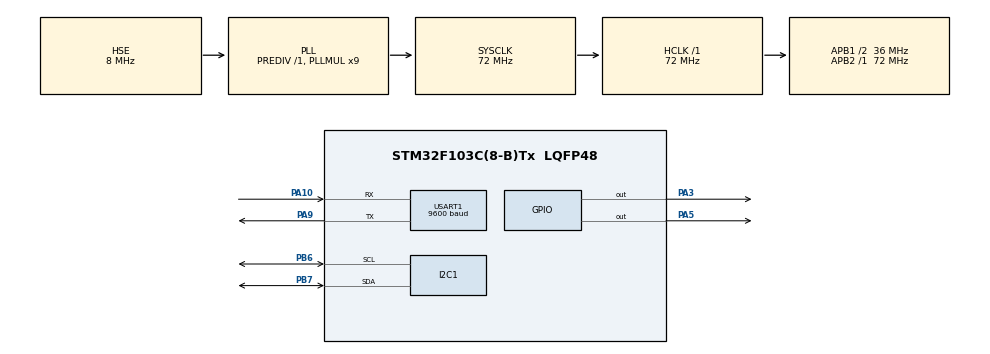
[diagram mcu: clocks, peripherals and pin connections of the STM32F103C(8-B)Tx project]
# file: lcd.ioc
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I2C1.OwnAddress=0x20
Mcu.Family=STM32F1
Mcu.Name=STM32F103C(8-B)Tx
Mcu.Package=LQFP48
NVIC.PriorityGroup=NVIC_PRIORITYGROUP_4
NVIC.USART1_IRQn=true\:0\:0\:false\:false\:true\:true\:true\:true
PA10.Mode=Asynchronous
PA10.Signal=USART1_RX
PA13.Mode=Serial_Wire
PA13.Signal=SYS_JTMS-SWDIO
PA14.Mode=Serial_Wire
PA14.Signal=SYS_JTCK-SWCLK
PA3.GPIO_PuPd=GPIO_PULLDOWN
PA3.Signal=GPIO_Output
PA5.GPIO_PuPd=GPIO_PULLDOWN
PA5.Signal=GPIO_Output
PA9.Mode=Asynchronous
PA9.Signal=USART1_TX
PB6.Mode=I2C
PB6.Signal=I2C1_SCL
PB7.Mode=I2C
PB7.Signal=I2C1_SDA
PC14-OSC32_IN.Mode=LSE-External-Oscillator
PC14-OSC32_IN.Signal=RCC_OSC32_IN
PC15-OSC32_OUT.Mode=LSE-External-Oscillator
PC15-OSC32_OUT.Signal=RCC_OSC32_OUT
PD0-OSC_IN.Mode=HSE-External-Oscillator
PD0-OSC_IN.Signal=RCC_OSC_IN
PD1-OSC_OUT.Mode=HSE-External-Oscillator
PD1-OSC_OUT.Signal=RCC_OSC_OUT
ProjectManager.HeapSize=0x200
ProjectManager.StackSize=0x400
ProjectManager.TargetToolchain=MDK-ARM V5.27
RCC.AHBFreq_Value=72000000
RCC.APB1CLKDivider=RCC_HCLK_DIV2
RCC.APB1Freq_Value=36000000
RCC.APB1TimFreq_Value=72000000
RCC.APB2Freq_Value=72000000
RCC.APB2TimFreq_Value=72000000
RCC.HCLKFreq_Value=72000000
RCC.PLLMUL=RCC_PLL_MUL9
RCC.PLLSourceVirtual=RCC_PLLSOURCE_HSE
RCC.SYSCLKFreq_VALUE=72000000
RCC.SYSCLKSource=RCC_SYSCLKSOURCE_PLLCLK
RCC.USBFreq_Value=72000000
RTC.Date=30
RTC.Format=RTC_FORMAT_BIN
RTC.Hours=15
RTC.Minutes=30
RTC.Month=RTC_MONTH_APRIL
RTC.WeekDay=RTC_WEEKDAY_SUNDAY
RTC.Year=23
TIM1.Channel-Output\ Compare1\ No\ Output=TIM_CHANNEL_1
USART1.BaudRate=9600
USART1.VirtualMode=VM_ASYNC
VP_RTC_VS_RTC_Activate.Mode=RTC_Enabled
VP_RTC_VS_RTC_Calendar.Mode=RTC_Calendar
VP_TIM1_VS_ClockSourceINT.Mode=Internal
VP_TIM1_VS_ClockSourceITR.Mode=TriggerSource_ITR1
VP_TIM1_VS_no_output1.Mode=Output Compare1 No Output
board=custom

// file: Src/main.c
/* USER CODE BEGIN Header */
/**
  ******************************************************************************
  * @file           : main.c
  * @brief          : Main program body
  ******************************************************************************
  * @attention
  *
  * <h2><center>&copy; Copyright (c) 2022 STMicroelectronics.
  * All rights reserved.</center></h2>
  *
  * This software component is licensed by ST under BSD 3-Clause license,
  * the "License"; You may not use this file except in compliance with the
  * License. You may obtain a copy of the License at:
  *                        opensource.org/licenses/BSD-3-Clause
  *
  ******************************************************************************
  */
/* USER CODE END Header */
#include "main.h"

/* USER CODE BEGIN Includes */
#include <stdio.h>
#include <string.h>
#include <stdlib.h>

/* USER CODE END Includes */

I2C_HandleTypeDef hi2c1;

RTC_HandleTypeDef hrtc;

TIM_HandleTypeDef htim1;

UART_HandleTypeDef huart1;

/* USER CODE BEGIN PV */
RTC_TimeTypeDef sTime;
RTC_DateTypeDef DateToUpdate;
uint8_t RX_data;
uint8_t TX_BUFFER[7];
uint8_t profileF;
uint8_t i2cadd=0x76<<1;
uint8_t Tsensor;
uint16_t timecounter=950;
uint8_t max=0;
uint16_t c[8];
uint8_t status;
uint8_t command;
uint8_t readresult[2];
char err;
uint32_t conversion;
uint8_t temp[3];

double OFF_;
float Aux;
uint64_t dT, Temperature;
uint64_t SENS;
uint32_t D1_Pres, D2_Temp;
uint32_t TEMP2, T2, OFF2, SENS2;
uint32_t Pressure;
uint32_t Depth;
float finalPressure;
float finalTemp;
float finalDepth;
uint8_t storeinit=0;

/* USER CODE END PV */

void SystemClock_Config(void);
static void MX_GPIO_Init(void);
static void MX_RTC_Init(void);
static void MX_TIM1_Init(void);
static void MX_USART1_UART_Init(void);
static void MX_I2C1_Init(void);
/* USER CODE BEGIN PFP */
void sinking();
void floating();
void resetoff();
void SensorReset();
unsigned char crc4(unsigned int n_prom[]) ;
void SensorGetCvalues();
void SensorGetConversion(uint8_t command);
void SensorGetData();
void AskForConnection();
void ProfileRun();

/* USER CODE END PFP */

int main(void)
{

  /* MCU Configuration--------------------------------------------------------*/

  /* Reset of all peripherals, Initializes the Flash interface and the Systick. */
  HAL_Init();

  /* Configure the system clock */
  SystemClock_Config();

  /* Initialize all configured peripherals */
  MX_GPIO_Init();
  MX_RTC_Init();
  MX_TIM1_Init();
  MX_USART1_UART_Init();
  MX_I2C1_Init();
  /* USER CODE BEGIN 2 */

	resetoff();

//reset pressure sensor
	//SensorReset();

//checking whether pressure sensor is ready
	//if(HAL_I2C_IsDeviceReady (&hi2c1, i2cadd, 10, HAL_MAX_DELAY)==HAL_OK)status=1;
	//HAL_Delay(10);
	//HAL_Delay(40);
	/*c1-c6:
	Pressure sensitivity, Pressure offset,
	Temperature coefficient of pressure sensitivity,Temperature coefficient of pressure offset,
	Reference temperature, Temperature coefficient of the temperature */
	//SensorGetCvalues();
	HAL_Delay(40);
	HAL_UART_Receive_IT(&huart1, &RX_data, 1);

  /* USER CODE END 2 */

  /* Infinite loop */
  /* USER CODE BEGIN WHILE */
  while (1)
  {

		HAL_RTC_GetTime(&hrtc,&sTime,RTC_FORMAT_BIN);
		HAL_RTC_GetDate(&hrtc,&DateToUpdate,RTC_FORMAT_BIN);
		TX_BUFFER[0]=sTime.Hours;
		TX_BUFFER[1]=sTime.Minutes;
		TX_BUFFER[2]=sTime.Seconds;
		TX_BUFFER[3]=DateToUpdate.Year;
		TX_BUFFER[4]=DateToUpdate.Month;
		TX_BUFFER[5]=DateToUpdate.Date;
		TX_BUFFER[6]=0xff;

		//measure pressure each two seconds
		//SensorGetData();
		//TX_BUFFER[7]=finalDepth;
		HAL_UART_Transmit(&huart1, TX_BUFFER, 7, 100);

			HAL_Delay(100);
			timecounter++;

			if(timecounter==450)
					resetoff();
			if(timecounter==460)
				 floating();

			if(timecounter==970){
				resetoff();
				timecounter=980;
			}

			if(timecounter==1000)
				timecounter=980;

//				//if(finalDepth==storeinit+500*3)
//				if(finalDepth==storeinit+150)
//					floating();
//				if(finalDepth==storeinit+10||finalDepth==storeinit-15)
//					resetoff();

  }
    /* USER CODE END WHILE */

}

void SystemClock_Config(void)
{
  RCC_OscInitTypeDef RCC_OscInitStruct = {0};
  RCC_ClkInitTypeDef RCC_ClkInitStruct = {0};
  RCC_PeriphCLKInitTypeDef PeriphClkInit = {0};

  /** Initializes the RCC Oscillators according to the specified parameters
  * in the RCC_OscInitTypeDef structure.
  */
  RCC_OscInitStruct.OscillatorType = RCC_OSCILLATORTYPE_LSI|RCC_OSCILLATORTYPE_HSE;
  RCC_OscInitStruct.HSEState = RCC_HSE_ON;
  RCC_OscInitStruct.HSEPredivValue = RCC_HSE_PREDIV_DIV1;
  RCC_OscInitStruct.HSIState = RCC_HSI_ON;
  RCC_OscInitStruct.LSIState = RCC_LSI_ON;
  RCC_OscInitStruct.PLL.PLLState = RCC_PLL_ON;
  RCC_OscInitStruct.PLL.PLLSource = RCC_PLLSOURCE_HSE;
  RCC_OscInitStruct.PLL.PLLMUL = RCC_PLL_MUL9;
  if (HAL_RCC_OscConfig(&RCC_OscInitStruct) != HAL_OK)
  {
    Error_Handler();
  }

  /** Initializes the CPU, AHB and APB buses clocks
  */
  RCC_ClkInitStruct.ClockType = RCC_CLOCKTYPE_HCLK|RCC_CLOCKTYPE_SYSCLK
                              |RCC_CLOCKTYPE_PCLK1|RCC_CLOCKTYPE_PCLK2;
  RCC_ClkInitStruct.SYSCLKSource = RCC_SYSCLKSOURCE_PLLCLK;
  RCC_ClkInitStruct.AHBCLKDivider = RCC_SYSCLK_DIV1;
  RCC_ClkInitStruct.APB1CLKDivider = RCC_HCLK_DIV2;
  RCC_ClkInitStruct.APB2CLKDivider = RCC_HCLK_DIV1;

  if (HAL_RCC_ClockConfig(&RCC_ClkInitStruct, FLASH_LATENCY_2) != HAL_OK)
  {
    Error_Handler();
  }
  PeriphClkInit.PeriphClockSelection = RCC_PERIPHCLK_RTC;
  PeriphClkInit.RTCClockSelection = RCC_RTCCLKSOURCE_LSI;
  if (HAL_RCCEx_PeriphCLKConfig(&PeriphClkInit) != HAL_OK)
  {
    Error_Handler();
  }
}

static void MX_I2C1_Init(void)
{

  hi2c1.Instance = I2C1;
  hi2c1.Init.ClockSpeed = 100000;
  hi2c1.Init.DutyCycle = I2C_DUTYCYCLE_2;
  hi2c1.Init.OwnAddress1 = 64;
  hi2c1.Init.AddressingMode = I2C_ADDRESSINGMODE_7BIT;
  hi2c1.Init.DualAddressMode = I2C_DUALADDRESS_DISABLE;
  hi2c1.Init.OwnAddress2 = 0;
  hi2c1.Init.GeneralCallMode = I2C_GENERALCALL_DISABLE;
  hi2c1.Init.NoStretchMode = I2C_NOSTRETCH_DISABLE;
  if (HAL_I2C_Init(&hi2c1) != HAL_OK)
  {
    Error_Handler();
  }

}

static void MX_RTC_Init(void)
{

  RTC_TimeTypeDef sTime = {0};
  RTC_DateTypeDef DateToUpdate = {0};

  /** Initialize RTC Only
  */
  hrtc.Instance = RTC;
  hrtc.Init.AsynchPrediv = RTC_AUTO_1_SECOND;
  hrtc.Init.OutPut = RTC_OUTPUTSOURCE_ALARM;
  if (HAL_RTC_Init(&hrtc) != HAL_OK)
  {
    Error_Handler();
  }

  /** Initialize RTC and set the Time and Date
  */
  sTime.Hours = 15;
  sTime.Minutes = 30;
  sTime.Seconds = 0;

  if (HAL_RTC_SetTime(&hrtc, &sTime, RTC_FORMAT_BIN) != HAL_OK)
  {
    Error_Handler();
  }
  DateToUpdate.WeekDay = RTC_WEEKDAY_SUNDAY;
  DateToUpdate.Month = RTC_MONTH_APRIL;
  DateToUpdate.Date = 30;
  DateToUpdate.Year = 23;

  if (HAL_RTC_SetDate(&hrtc, &DateToUpdate, RTC_FORMAT_BIN) != HAL_OK)
  {
    Error_Handler();
  }

}

static void MX_TIM1_Init(void)
{

  TIM_ClockConfigTypeDef sClockSourceConfig = {0};
  TIM_SlaveConfigTypeDef sSlaveConfig = {0};
  TIM_MasterConfigTypeDef sMasterConfig = {0};
  TIM_OC_InitTypeDef sConfigOC = {0};
  TIM_BreakDeadTimeConfigTypeDef sBreakDeadTimeConfig = {0};

  htim1.Instance = TIM1;
  htim1.Init.Prescaler = 0;
  htim1.Init.CounterMode = TIM_COUNTERMODE_UP;
  htim1.Init.Period = 65535;
  htim1.Init.ClockDivision = TIM_CLOCKDIVISION_DIV1;
  htim1.Init.RepetitionCounter = 0;
  htim1.Init.AutoReloadPreload = TIM_AUTORELOAD_PRELOAD_DISABLE;
  if (HAL_TIM_Base_Init(&htim1) != HAL_OK)
  {
    Error_Handler();
  }
  sClockSourceConfig.ClockSource = TIM_CLOCKSOURCE_INTERNAL;
  if (HAL_TIM_ConfigClockSource(&htim1, &sClockSourceConfig) != HAL_OK)
  {
    Error_Handler();
  }
  if (HAL_TIM_OC_Init(&htim1) != HAL_OK)
  {
    Error_Handler();
  }
  sSlaveConfig.SlaveMode = TIM_SLAVEMODE_DISABLE;
  sSlaveConfig.InputTrigger = TIM_TS_ITR1;
  if (HAL_TIM_SlaveConfigSynchro(&htim1, &sSlaveConfig) != HAL_OK)
  {
    Error_Handler();
  }
  sMasterConfig.MasterOutputTrigger = TIM_TRGO_RESET;
  sMasterConfig.MasterSlaveMode = TIM_MASTERSLAVEMODE_DISABLE;
  if (HAL_TIMEx_MasterConfigSynchronization(&htim1, &sMasterConfig) != HAL_OK)
  {
    Error_Handler();
  }
  sConfigOC.OCMode = TIM_OCMODE_TIMING;
  sConfigOC.Pulse = 0;
  sConfigOC.OCPolarity = TIM_OCPOLARITY_HIGH;
  sConfigOC.OCNPolarity = TIM_OCNPOLARITY_HIGH;
  sConfigOC.OCFastMode = TIM_OCFAST_DISABLE;
  sConfigOC.OCIdleState = TIM_OCIDLESTATE_RESET;
  sConfigOC.OCNIdleState = TIM_OCNIDLESTATE_RESET;
  if (HAL_TIM_OC_ConfigChannel(&htim1, &sConfigOC, TIM_CHANNEL_1) != HAL_OK)
  {
    Error_Handler();
  }
  sBreakDeadTimeConfig.OffStateRunMode = TIM_OSSR_DISABLE;
  sBreakDeadTimeConfig.OffStateIDLEMode = TIM_OSSI_DISABLE;
  sBreakDeadTimeConfig.LockLevel = TIM_LOCKLEVEL_OFF;
  sBreakDeadTimeConfig.DeadTime = 0;
  sBreakDeadTimeConfig.BreakState = TIM_BREAK_DISABLE;
  sBreakDeadTimeConfig.BreakPolarity = TIM_BREAKPOLARITY_HIGH;
  sBreakDeadTimeConfig.AutomaticOutput = TIM_AUTOMATICOUTPUT_DISABLE;
  if (HAL_TIMEx_ConfigBreakDeadTime(&htim1, &sBreakDeadTimeConfig) != HAL_OK)
  {
    Error_Handler();
  }

}

static void MX_USART1_UART_Init(void)
{

  huart1.Instance = USART1;
  huart1.Init.BaudRate = 9600;
  huart1.Init.WordLength = UART_WORDLENGTH_8B;
  huart1.Init.StopBits = UART_STOPBITS_1;
  huart1.Init.Parity = UART_PARITY_NONE;
  huart1.Init.Mode = UART_MODE_TX_RX;
  huart1.Init.HwFlowCtl = UART_HWCONTROL_NONE;
  huart1.Init.OverSampling = UART_OVERSAMPLING_16;
  if (HAL_UART_Init(&huart1) != HAL_OK)
  {
    Error_Handler();
  }

}

static void MX_GPIO_Init(void)
{
  GPIO_InitTypeDef GPIO_InitStruct = {0};

  /* GPIO Ports Clock Enable */
  __HAL_RCC_GPIOC_CLK_ENABLE();
  __HAL_RCC_GPIOD_CLK_ENABLE();
  __HAL_RCC_GPIOA_CLK_ENABLE();
  __HAL_RCC_GPIOB_CLK_ENABLE();

  /*Configure GPIO pin Output Level */
  HAL_GPIO_WritePin(GPIOA, GPIO_PIN_3|GPIO_PIN_5, GPIO_PIN_RESET);

  /*Configure GPIO pins : PA3 PA5 */
  GPIO_InitStruct.Pin = GPIO_PIN_3|GPIO_PIN_5;
  GPIO_InitStruct.Mode = GPIO_MODE_OUTPUT_PP;
  GPIO_InitStruct.Pull = GPIO_PULLDOWN;
  GPIO_InitStruct.Speed = GPIO_SPEED_FREQ_LOW;
  HAL_GPIO_Init(GPIOA, &GPIO_InitStruct);

}

/* USER CODE BEGIN 4 */

void HAL_UART_RxCpltCallback(UART_HandleTypeDef *huart)
{
	 if(RX_data==77||RX_data==66){
		 timecounter=0;
		ProfileRun();
	 }

	if(RX_data==80||RX_data==88)
		 resetoff();

	 HAL_UART_Receive_IT(&huart1, &RX_data, 1);

}
void ProfileRun(){
		sinking();

}
unsigned char crc4(unsigned int n_prom[]) // n_prom defined as 8x unsigned int (n_prom[8])
{
	int cnt; // simple counter
	unsigned int n_rem=0; // crc remainder
	unsigned char n_bit;
	n_prom[0]=((n_prom[0]) & 0x0FFF); // CRC byte is replaced by 0
	n_prom[7]=0; // Subsidiary value, set to 0
	for (cnt = 0; cnt < 16; cnt++) // operation is performed on bytes
	 { // choose LSB or MSB
	 if (cnt%2==1) n_rem ^= (unsigned short) ((n_prom[cnt>>1]) & 0x00FF);
	 else n_rem ^= (unsigned short) (n_prom[cnt>>1]>>8);
	 for (n_bit = 8; n_bit > 0; n_bit--)
	 {
	 if (n_rem & (0x8000)) n_rem = (n_rem << 1) ^ 0x3000;
	 else n_rem = (n_rem << 1);
	 }
	 }
	n_rem= ((n_rem >> 12) & 0x000F); // final 4-bit remainder is CRC code
	return (n_rem ^ 0x00);
}
void sinking(){
	HAL_GPIO_WritePin(GPIOA, GPIO_PIN_3, 1);
	HAL_GPIO_WritePin(GPIOA, GPIO_PIN_5, 0);
}
void floating(){
	HAL_GPIO_WritePin(GPIOA, GPIO_PIN_3, 0);
	HAL_GPIO_WritePin(GPIOA, GPIO_PIN_5, 1);
}
void resetoff(){
	HAL_GPIO_WritePin(GPIOA, GPIO_PIN_3, 0);
	HAL_GPIO_WritePin(GPIOA, GPIO_PIN_5, 0);
}
void SensorReset(){
	command=0x1E;
	HAL_I2C_Master_Transmit(&hi2c1, (i2cadd), &command, 1, HAL_MAX_DELAY);
	HAL_Delay(20);
}
//c1-c6:
//Pressure sensitivity, Pressure offset,
//Temperature coefficient of pressure sensitivity,Temperature coefficient of pressure offset,
//Reference temperature, Temperature coefficient of the temperature
void SensorGetCvalues(){

	for(uint8_t i=0;i<7;i++){
		command=0xA0+i*2;
		//command=0xA0+i<<1);
		//HAL_Delay(20);
		HAL_I2C_Master_Transmit(&hi2c1, (i2cadd), &command, 1, HAL_MAX_DELAY);
		HAL_Delay(20);
		HAL_I2C_Master_Receive(&hi2c1, (i2cadd), readresult,2,100);

	HAL_Delay(20);
//		HAL_I2C_Master_Receive(&hi2c1, (i2cadd), readresult,1,100);
//		command=0xA0+i*2+2;
//		HAL_Delay(20);
//		HAL_I2C_Master_Transmit(&hi2c1, (i2cadd), &command, 1, HAL_MAX_DELAY);
//		HAL_Delay(20);
//		HAL_I2C_Master_Receive(&hi2c1, (i2cadd), &readresult[1],1,100);
//  	HAL_Delay(20);
		c[i] = (((uint16_t)readresult[1] << 8) | readresult[0]);

		//c[i]=readresult;
	}

	err=crc4((unsigned int*)c);
}

void SensorGetConversion(uint8_t command){

	HAL_I2C_Master_Transmit(&hi2c1, (i2cadd), &command, 1, HAL_MAX_DELAY);
	HAL_Delay(20);
	command=0x00;
	HAL_I2C_Master_Transmit(&hi2c1, (i2cadd), &command, 1, HAL_MAX_DELAY);
	HAL_Delay(20);
	HAL_I2C_Master_Receive(&hi2c1, (i2cadd), temp,3,100);
	conversion = ((uint32_t)temp[0] << 16) | ((uint32_t)temp[1] << 8) | temp[2];

}

void SensorGetData(){

	SensorGetConversion(0x46);
	D1_Pres=conversion;
	HAL_Delay(20);
	SensorGetConversion(0x56);
	D2_Temp=conversion;

	if (D2_Temp > (((uint32_t)c[4]) * 256.0))
	{
		dT = D2_Temp - (((uint32_t)c[6]) * 256);
		Temperature = 2000.0 + dT * ((uint32_t)c[6]) / 8388608.0f;
		OFF_ = (uint32_t)c[2] * 65536.0f + ((uint32_t)c[4] * dT) / 128.0f;
		SENS = (uint32_t)c[1] * 32768.0f + ((uint32_t)c[3] * dT) / 256.0f;
	}
	else
	{
		dT = (((uint32_t)c[5]) * 256.0f) - D2_Temp;
		Temperature = 2000.0f + dT * ((uint32_t)c[6]) / 8388608.0f;
		OFF_ = (uint32_t)c[2] * 65536.0f - ((uint32_t)c[4] * dT) / 128.0;
		SENS = (uint32_t)c[1] * 32768.0f - ((uint32_t)c[3] * dT) / 256.0;
	}

	if (Temperature < 2000) // low temp
	{
		Aux = (2000.0 - Temperature) * (2000.0 - Temperature);
		T2 = 3.0 * (dT * dT) / 8589934592.0f;
		OFF2 = 3 * Aux / 2;
		SENS2 = 5 * Aux / 8;
	}
	else
	{
		Aux = (Temperature - 2000) * (Temperature - 2000);
		T2 = 2 * (dT * dT) / 137438953472.0f;
		OFF2 = 1 * Aux / 16;
		SENS2 = 0;
	}
	OFF_ = OFF_ - OFF2;
	SENS = SENS - SENS2;

	finalTemp = (float)(Temperature - T2) / 100.0f;
	finalPressure =(float)((D1_Pres * SENS / 2097152.0f - OFF_) / 8192.0f) / 10.0f;
	//finalDepth = 0-(0.986923267* ( (0.0f-finalPressure-1013.25)*0.001))/10;
	finalDepth=0.986923267f*(finalPressure-985.0f);

	if(storeinit==0){
		storeinit=finalPressure;
	}
}

void AskForConnection(){
	profileF=88;
	while(1){
		HAL_UART_Transmit(&huart1, &profileF, 1, 100);
		HAL_Delay(500);
		if(RX_data==88){
			RX_data=0;
			break;
		}
	}
}

/* USER CODE END 4 */

void Error_Handler(void)
{
}
